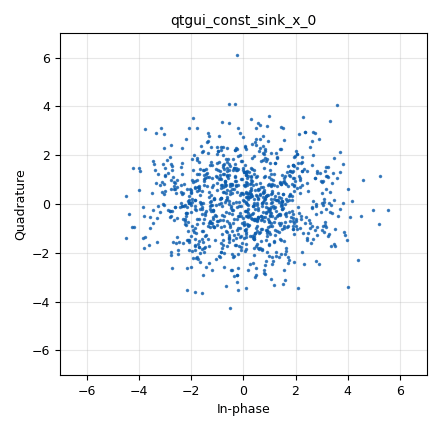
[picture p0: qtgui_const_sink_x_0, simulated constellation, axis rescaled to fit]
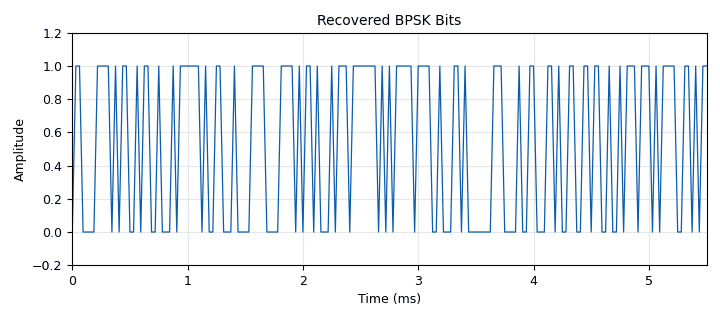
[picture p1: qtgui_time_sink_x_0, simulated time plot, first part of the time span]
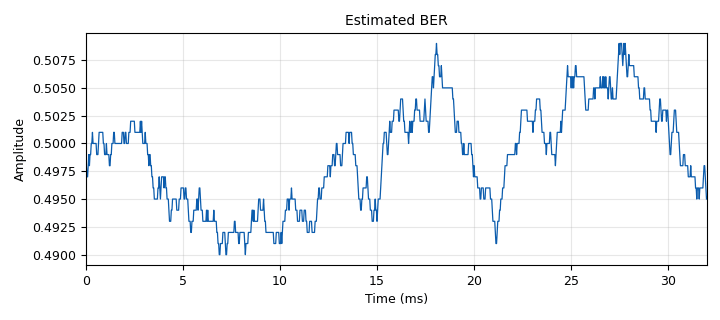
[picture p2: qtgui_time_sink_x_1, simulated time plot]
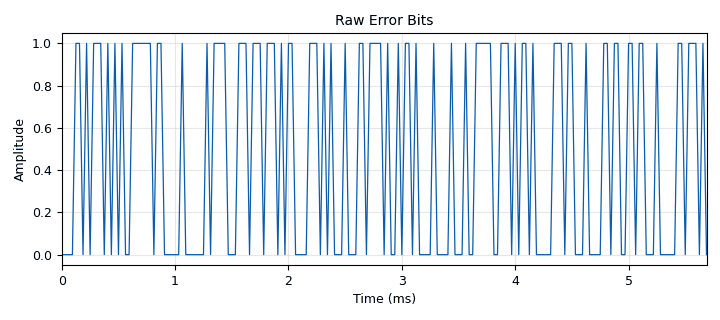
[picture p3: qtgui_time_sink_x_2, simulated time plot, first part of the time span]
options:
  parameters:
    generate_options: qt_gui
    id: SDR_Communication_System
    output_language: python
    title: Not titled yet
  states: {}

blocks:
- name: samp_rate
  id: variable
  parameters:
    value: '32000'
  states: {}
- name: analog_random_source_x_0
  id: analog_random_source_x
  parameters:
    max: '2'
    min: '0'
    num_samps: '1000'
    repeat: 'True'
    type: int
  states: {}
- name: blocks_complex_to_real_0
  id: blocks_complex_to_real
  parameters: {}
  states: {}
- name: blocks_float_to_uchar_0
  id: blocks_float_to_uchar
  parameters:
    bias: '0'
    scale: '1'
    vlen: '1'
  states: {}
- name: blocks_int_to_float_0
  id: blocks_int_to_float
  parameters:
    scale: '1'
  states: {}
- name: blocks_moving_average_xx_0
  id: blocks_moving_average_xx
  parameters:
    length: '1000'
    max_iter: '4000'
    scale: '0.001'
    type: float
  states: {}
- name: blocks_uchar_to_float_0
  id: blocks_uchar_to_float
  parameters: {}
  states: {}
- name: blocks_uchar_to_float_1
  id: blocks_uchar_to_float
  parameters: {}
  states: {}
- name: blocks_xor_xx_0
  id: blocks_xor_xx
  parameters:
    type: byte
  states: {}
- name: channels_channel_model_0
  id: channels_channel_model
  parameters:
    epsilon: '1.0'
    freq_offset: '0.0'
    noise_voltage: '2.0'
    seed: '0'
    taps: '[1.0+0j]'
  states: {}
- name: digital_binary_slicer_fb_0
  id: digital_binary_slicer_fb
  parameters: {}
  states: {}
- name: digital_chunks_to_symbols_xx_0
  id: digital_chunks_to_symbols_xx
  parameters:
    dimension: '1'
    in_type: int
    out_type: complex
    symbol_table: '[-1, 1]'
  states: {}
- name: qtgui_const_sink_x_0
  id: qtgui_const_sink_x
  parameters:
    size: '1024'
    type: complex
  states: {}
- name: qtgui_time_sink_x_0
  id: qtgui_time_sink_x
  parameters:
    name: '"Recovered BPSK Bits"'
    size: '1024'
    srate: samp_rate
    type: float
    ymax: '1.2'
    ymin: '-0.2'
  states: {}
- name: qtgui_time_sink_x_1
  id: qtgui_time_sink_x
  parameters:
    autoscale: 'True'
    grid: 'True'
    name: '"Estimated BER"'
    size: '1024'
    srate: samp_rate
    type: float
    ymax: '0.05'
    ymin: '0'
    yunit: '"Bit Error Rate"'
  states: {}
- name: qtgui_time_sink_x_2
  id: qtgui_time_sink_x
  parameters:
    autoscale: 'True'
    name: '"Raw Error Bits"'
    size: '1024'
    srate: samp_rate
    type: float
    ymax: '1.2'
    ymin: '-0.2'
  states: {}

connections:
- [analog_random_source_x_0, '0', blocks_int_to_float_0, '0']
- [analog_random_source_x_0, '0', digital_chunks_to_symbols_xx_0, '0']
- [blocks_complex_to_real_0, '0', digital_binary_slicer_fb_0, '0']
- [blocks_float_to_uchar_0, '0', blocks_xor_xx_0, '0']
- [blocks_int_to_float_0, '0', blocks_float_to_uchar_0, '0']
- [blocks_moving_average_xx_0, '0', qtgui_time_sink_x_1, '0']
- [blocks_uchar_to_float_0, '0', qtgui_time_sink_x_0, '0']
- [blocks_uchar_to_float_1, '0', blocks_moving_average_xx_0, '0']
- [blocks_uchar_to_float_1, '0', qtgui_time_sink_x_2, '0']
- [blocks_xor_xx_0, '0', blocks_uchar_to_float_1, '0']
- [channels_channel_model_0, '0', blocks_complex_to_real_0, '0']
- [channels_channel_model_0, '0', qtgui_const_sink_x_0, '0']
- [digital_binary_slicer_fb_0, '0', blocks_uchar_to_float_0, '0']
- [digital_binary_slicer_fb_0, '0', blocks_xor_xx_0, '1']
- [digital_chunks_to_symbols_xx_0, '0', channels_channel_model_0, '0']

metadata:
  file_format: 1
  grc_version: 3.10.12.0
